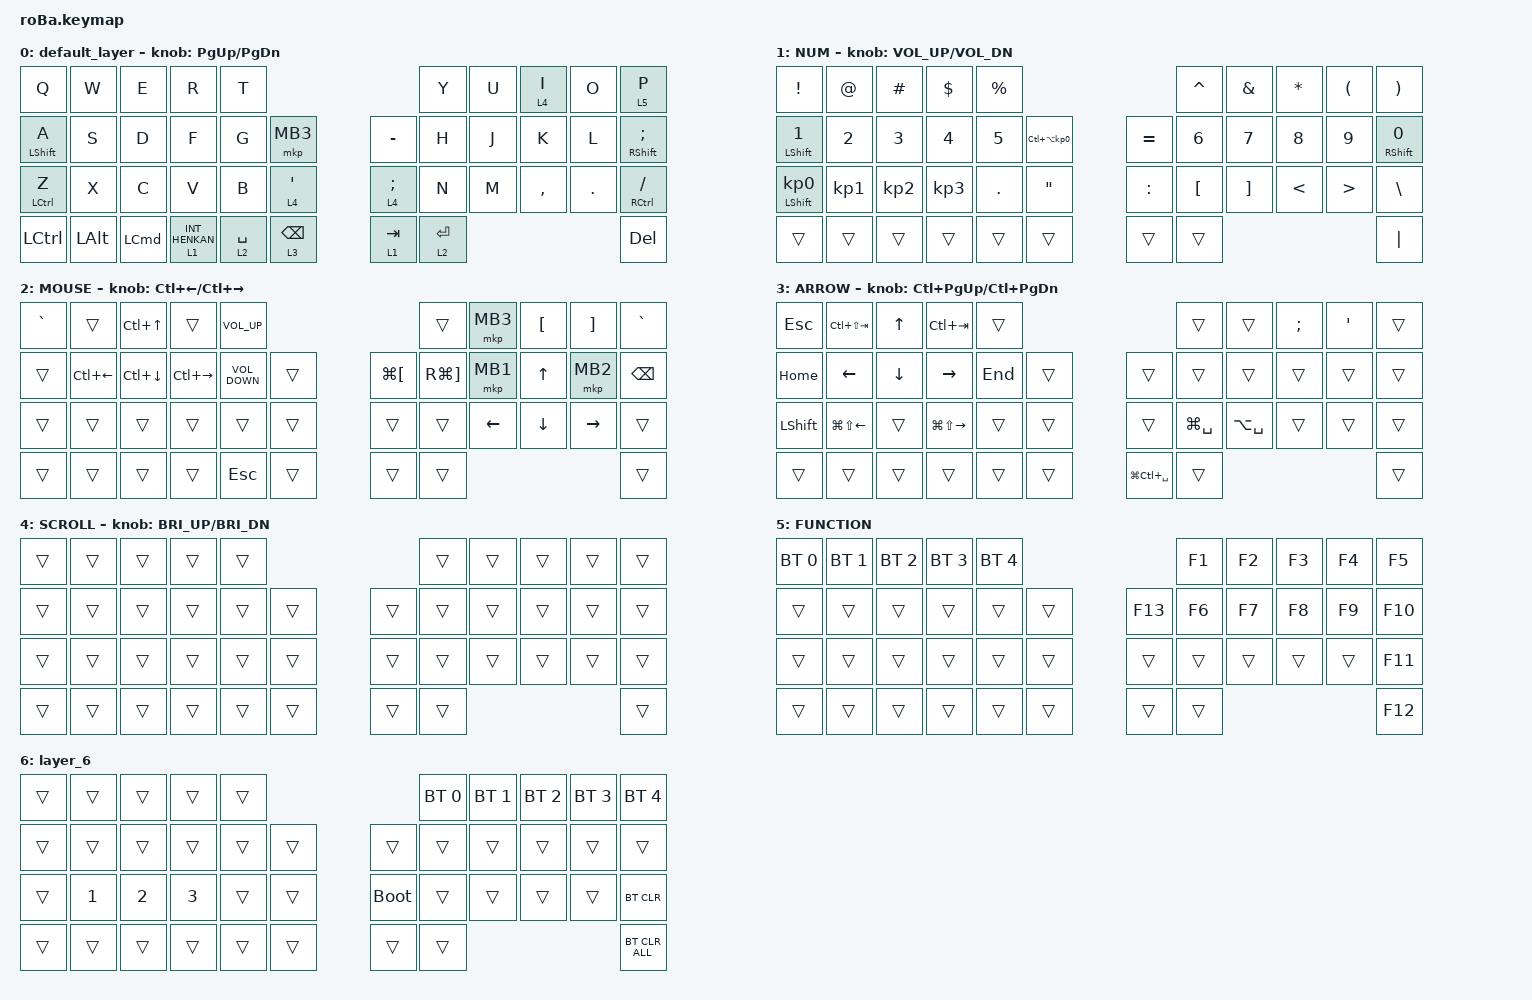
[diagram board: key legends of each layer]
#include <behaviors.dtsi>
#include <dt-bindings/zmk/bt.h>
#include <dt-bindings/zmk/keys.h>
#include <dt-bindings/zmk/pointing.h>

&mt {
    flavor = "balanced";
    quick-tap-ms = <0>;
};

&trackball {
    // automouse-layer = <2>;
    scroll-layers = <5>;

    // arrows {
    //     layers = <3>;
    //     bindings =
    //         <&kp RIGHT_ARROW>,
    //         <&kp LEFT_ARROW>,
    //         <&kp UP_ARROW>,
    //         <&kp DOWN_ARROW>;
    //     tick = <10>;
    //     wait-ms = <5>;
    //     tap-ms = <5>;
    // };
};

/ {
    combos {
        compatible = "zmk,combos";

        tab {
            bindings = <&kp TAB>;
            key-positions = <11 12>;
        };

        shift_tab {
            bindings = <&kp LS(TAB)>;
            key-positions = <12 13>;
        };

        muhennkann {
            bindings = <&to_layer_0 INT_MUHENKAN>;
            key-positions = <11 10>;
        };

        double_quotation {
            bindings = <&kp DOUBLE_QUOTES>;
            key-positions = <20 21>;
        };

        eq {
            bindings = <&kp EQUAL>;
            key-positions = <24 25>;
        };
    };

    macros {
        to_layer_0: to_layer_0 {
            compatible = "zmk,behavior-macro-one-param";
            #binding-cells = <1>;
            bindings = <&to 0 &macro_param_1to1 &kp MACRO_PLACEHOLDER>;
            label = "TO_LAYER_0";
        };
    };

    behaviors {
        lt_to_layer_0: lt_to_layer_0 {
            compatible = "zmk,behavior-hold-tap";
            label = "LAYER_TAP_TO_0";
            bindings = <&mo>, <&to_layer_0>;

            #binding-cells = <2>;
            tapping-term-ms = <200>;
        };

        // 後で消す

        rot_msc: sensor_rotate_msc {
            compatible = "zmk,behavior-sensor-rotate-var";
            #sensor-binding-cells = <2>;
            bindings = <&msc>, <&msc>;
        };
    };

    keymap {
        compatible = "zmk,keymap";

        default_layer {
            bindings = <
&kp Q               &kp W         &kp E             &kp R                        &kp T                                                                       &kp Y        &kp U  &lt 4 I    &kp O    &lt_to_layer_0 5 P
&mt LEFT_SHIFT A    &kp S         &kp D             &kp F                        &kp G        &mkp MB3                           &kp MINUS                   &kp H        &kp J  &kp K      &kp L    &mt RIGHT_SHIFT SEMICOLON
&mt LEFT_CONTROL Z  &kp X         &kp C             &kp V                        &kp B        &lt_to_layer_0 4 SINGLE_QUOTE      &lt_to_layer_0 4 SEMICOLON  &kp N        &kp M  &kp COMMA  &kp DOT  &mt RIGHT_CONTROL SLASH
&kp LCTRL           &kp LEFT_ALT  &kp LEFT_COMMAND  &lt_to_layer_0 1 INT_HENKAN  &lt 2 SPACE  &lt_to_layer_0 3 BACKSPACE         &lt_to_layer_0 1 TAB        &lt 2 ENTER                             &kp DEL
            >;

            sensor-bindings = <&inc_dec_kp PG_UP PAGE_DOWN>;
        };

        NUM {
            bindings = <
&kp EXCLAMATION             &kp AT_SIGN      &kp HASH         &kp DOLLAR       &kp PERCENT                                          &kp CARET         &kp AMPERSAND      &kp ASTERISK   &kp LEFT_PARENTHESIS  &kp RIGHT_PARENTHESIS
&mt LEFT_SHIFT NUMBER_1     &kp NUMBER_2     &kp NUMBER_3     &kp NUMBER_4     &kp N5       &kp LC(LA(KP_NUMBER_0))      &kp EQUAL  &kp NUMBER_6      &kp NUMBER_7       &kp NUMBER_8   &kp NUMBER_9          &mt RIGHT_SHIFT NUMBER_0
&mt LEFT_SHIFT KP_NUMBER_0  &kp KP_NUMBER_1  &kp KP_NUMBER_2  &kp KP_NUMBER_3  &kp PERIOD   &kp DOUBLE_QUOTES            &kp COLON  &kp LEFT_BRACKET  &kp RIGHT_BRACKET  &kp LESS_THAN  &kp GREATER_THAN      &kp BACKSLASH
&trans                      &trans           &trans           &trans           &trans       &trans                       &trans     &trans                                                                    &kp PIPE
            >;

            sensor-bindings = <&inc_dec_kp C_VOL_UP C_VOL_DN>;
        };

        MOUSE {
            bindings = <
&kp GRAVE  &trans              &kp LC(UP_ARROW)    &trans               &kp C_VOLUME_UP                                      &trans                 &mkp MB3        &kp LEFT_BRACKET  &kp RIGHT_BRACKET  &kp GRAVE
&trans     &kp LC(LEFT_ARROW)  &kp LC(DOWN_ARROW)  &kp LC(RIGHT_ARROW)  &kp C_VOLUME_DOWN  &trans      &kp LG(LEFT_BRACKET)  &kp RG(RIGHT_BRACKET)  &mkp MB1        &kp UP_ARROW      &mkp MB2           &kp BACKSPACE
&trans     &trans              &trans              &trans               &trans             &trans      &trans                &trans                 &kp LEFT_ARROW  &kp DOWN_ARROW    &kp RIGHT_ARROW    &trans
&trans     &trans              &trans              &trans               &kp ESCAPE         &trans      &trans                &trans                                                                      &trans
            >;

            sensor-bindings = <&inc_dec_kp LC(LEFT_ARROW) LC(RIGHT_ARROW)>;
        };

        ARROW {
            bindings = <
&kp ESCAPE      &kp LC(LS(TAB))         &kp UP_ARROW    &kp LC(TAB)              &trans                                  &trans         &trans         &kp SEMICOLON  &kp SQT  &trans
&kp HOME        &kp LEFT_ARROW          &kp DOWN_ARROW  &kp RIGHT_ARROW          &kp END  &trans      &trans             &trans         &trans         &trans         &trans   &trans
&kp LEFT_SHIFT  &kp LG(LS(LEFT_ARROW))  &trans          &kp LG(LS(RIGHT_ARROW))  &trans   &trans      &trans             &kp LG(SPACE)  &kp LA(SPACE)  &trans         &trans   &trans
&trans          &trans                  &trans          &trans                   &trans   &trans      &kp LG(LC(SPACE))  &trans                                                &trans
            >;

            sensor-bindings = <&inc_dec_kp LC(PAGE_UP) LC(PAGE_DOWN)>;
        };

        SCROLL {
            bindings = <
&trans  &trans  &trans  &trans  &trans                      &trans  &trans  &trans  &trans  &trans
&trans  &trans  &trans  &trans  &trans  &trans      &trans  &trans  &trans  &trans  &trans  &trans
&trans  &trans  &trans  &trans  &trans  &trans      &trans  &trans  &trans  &trans  &trans  &trans
&trans  &trans  &trans  &trans  &trans  &trans      &trans  &trans                          &trans
            >;

            sensor-bindings = <&inc_dec_kp C_BRI_UP C_BRI_DN>;
        };

        FUNCTION {
            bindings = <
&bt BT_SEL 0  &bt BT_SEL 1  &bt BT_SEL 2  &bt BT_SEL 3  &bt BT_SEL 4                       &kp F1  &kp F2  &kp F3  &kp F4  &kp F5
&trans        &trans        &trans        &trans        &trans        &trans      &kp F13  &kp F6  &kp F7  &kp F8  &kp F9  &kp F10
&trans        &trans        &trans        &trans        &trans        &trans      &trans   &trans  &trans  &trans  &trans  &kp F11
&trans        &trans        &trans        &trans        &trans        &trans      &trans   &trans                          &kp F12
            >;
        };

        layer_6 {
            bindings = <
&trans  &trans        &trans        &trans        &trans                           &bt BT_SEL 0  &bt BT_SEL 1  &bt BT_SEL 2  &bt BT_SEL 3  &bt BT_SEL 4
&trans  &trans        &trans        &trans        &trans  &trans      &trans       &trans        &trans        &trans        &trans        &trans
&trans  &kp NUMBER_1  &kp NUMBER_2  &kp NUMBER_3  &trans  &trans      &bootloader  &trans        &trans        &trans        &trans        &bt BT_CLR
&trans  &trans        &trans        &trans        &trans  &trans      &trans       &trans                                                  &bt BT_CLR_ALL
            >;
        };
    };
};
